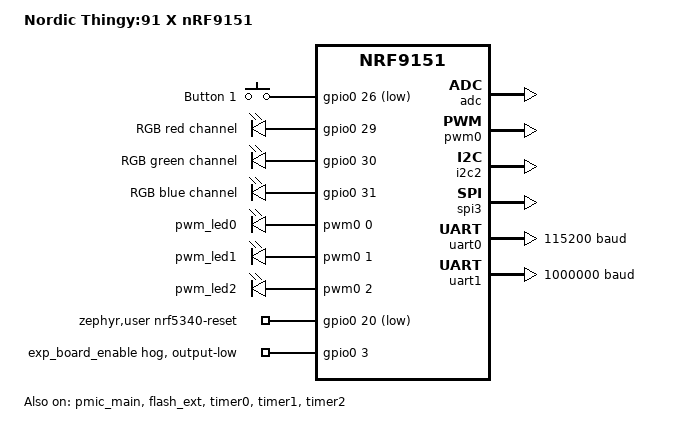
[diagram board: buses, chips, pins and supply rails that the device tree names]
/*
 * Copyright (c) 2024 Nordic Semiconductor
 * SPDX-License-Identifier: LicenseRef-Nordic-5-Clause
 */

#include "thingy91x_nrf9151_common-pinctrl.dtsi"
#include "thingy91x_common.dtsi"

/ {
	model = "Nordic Thingy:91 X nRF9151";
	compatible = "nordic,thingy91x-nrf9151";

	chosen {
		zephyr,console = &uart0;
		zephyr,shell-uart = &uart0;
		zephyr,uart-mcumgr = &uart0;
		nordic,pm-ext-flash = &flash_ext;
	};

	buttons {
		compatible = "gpio-keys";

		button0: button_0 {
			gpios = <&gpio0 26 (GPIO_PULL_UP | GPIO_ACTIVE_LOW)>;
			label = "Button 1";
		};
	};

	leds {
		compatible = "gpio-leds";
		red_led: led_1 {
			gpios = <&gpio0 29 0>;
			label = "RGB red channel";
		};
		green_led: led_2 {
			gpios = <&gpio0 30 0>;
			label = "RGB green channel";
		};
		blue_led: led_3 {
			gpios = <&gpio0 31 0>;
			label = "RGB blue channel";
		};
	};

	pwmleds {
		compatible = "pwm-leds";
		pwm_led0: pwm_led_0 {
			pwms = <&pwm0 0 PWM_MSEC(8) PWM_POLARITY_NORMAL>;
		};
		pwm_led1: pwm_led_1 {
			pwms = <&pwm0 1 PWM_MSEC(8) PWM_POLARITY_NORMAL>;
		};
		pwm_led2: pwm_led_2 {
			pwms = <&pwm0 2 PWM_MSEC(8) PWM_POLARITY_NORMAL>;
		};
	};
	zephyr,user {
		nrf5340-reset-gpios = <&gpio0 20 GPIO_ACTIVE_LOW>;
	};

	aliases {
		sw0 = &button0;
		led0 = &red_led;
		led1 = &green_led;
		led2 = &blue_led;
		pwm-led0 = &pwm_led0;
		pwm-led1 = &pwm_led1;
		pwm-led2 = &pwm_led2;
		rgb-pwm = &pwm0;
		mcuboot-button0 = &button0;
		spi-flash0 = &flash_ext;
	};
};

&adc {
	status = "okay";
};

&gpiote {
	status = "okay";
};

&gpio0 {
	status = "okay";
	/* Use PORT event rather than GPIOTE IN event, to save power */
	sense-edge-mask = <0xffffffff>;
	/* Load switch controlling 3.3V supply and I/O voltage for external boards */
	exp_board_enable: exp_board_enable {
		gpio-hog;
		output-low;
		gpios = <3 GPIO_ACTIVE_HIGH>;
	};
};

/* PWM0 is intended for RGB LED control */
&pwm0 {
	status = "okay";
	pinctrl-0 = <&pwm0_default>;
	pinctrl-1 = <&pwm0_sleep>;
	pinctrl-names = "default", "sleep";
};

&pmic_main {
	host-int-gpios = <&gpio0 2 GPIO_ACTIVE_HIGH>; //INT1
};
&accelerometer_hp {
	irq-gpios = <&gpio0 6 GPIO_ACTIVE_LOW>; //INT2
};
&magnetometer {
	drdy-gpios = <&gpio0 7 GPIO_ACTIVE_LOW>; //INT3
};
&accelerometer_lp {
	int1-gpios = <&gpio0 11 GPIO_ACTIVE_HIGH>; //INT4
};

&flash_ext {
	status = "okay";
};

&nrf70 {
	iovdd-ctrl-gpios = <&gpio0 27 (GPIO_ACTIVE_HIGH | GPIO_PULL_DOWN)>;
	bucken-gpios = <&gpio0 28 (GPIO_ACTIVE_HIGH | GPIO_PULL_DOWN)>;
	host-irq-gpios = <&gpio0 16 GPIO_ACTIVE_HIGH>;
};

&i2c2 {
	status = "okay";
};
&spi3 {
	status = "okay";
	cs-gpios = <&gpio0 12 GPIO_ACTIVE_LOW>, // FLASH_CS
		   <&gpio0 17 GPIO_ACTIVE_LOW>, // WIFI_CS
		   <&gpio0 10 GPIO_ACTIVE_LOW>; // BMI270_CS
};

&pmic_main {
	status = "okay";
	npm1300_gpios {
		status = "okay";
	};
	regulators {
		status = "okay";
	};
	charger {
		status = "okay";
	};
};

&timer0 {
	status = "okay";
};

&timer1 {
	status = "okay";
};

&timer2 {
	status = "okay";
};

&uart0 {
	compatible = "nordic,nrf-uarte";
	current-speed = <115200>;
	status = "okay";
	pinctrl-0 = <&uart0_default>;
	pinctrl-1 = <&uart0_sleep>;
	pinctrl-names = "default", "sleep";
};

&uart1 {
	current-speed = <1000000>;
	status = "okay";
	pinctrl-0 = <&uart1_default>;
	pinctrl-1 = <&uart1_sleep>;
	pinctrl-names = "default", "sleep";
};

/* This is not the layout that's actually used! It's overridden by Partition Manager. */
&flash0 {
	/*
	 * For more information, see:
	 * http://docs.zephyrproject.org/devices/dts/flash_partitions.html
	 */
	partitions {
		compatible = "fixed-partitions";
		#address-cells = <1>;
		#size-cells = <1>;

		boot_partition: partition@0 {
			label = "mcuboot";
			reg = <0x00000000 0x10000>;
		};
		slot0_partition: partition@10000 {
			label = "image-0";
			reg = <0x00010000 0x30000>;
		};
		slot0_ns_partition: partition@40000 {
			label = "image-0-nonsecure";
			reg = <0x00040000 0x40000>;
		};
		slot1_partition: partition@80000 {
			label = "image-1";
			reg = <0x00080000 0x30000>;
		};
		slot1_ns_partition: partition@b0000 {
			label = "image-1-nonsecure";
			reg = <0x000b0000 0x40000>;
		};
		scratch_partition: partition@f0000 {
			label = "image-scratch";
			reg = <0x000f0000 0xa000>;
		};
		storage_partition: partition@fa000 {
			label = "storage";
			reg = <0x000fa000 0x00006000>;
		};
	};
};

/ {

	reserved-memory {
		#address-cells = <1>;
		#size-cells = <1>;
		ranges;

		sram0_s: image_s@20000000 {
			/* Secure image memory */
			reg = <0x20000000 DT_SIZE_K(64)>;
		};

		sram0_bsd: image_bsd@20010000 {
			/* BSD (shared) memory */
			reg = <0x20010000 DT_SIZE_K(64)>;
		};

		sram0_ns: image_ns@20020000 {
			/* Non-Secure image memory */
			reg = <0x20020000 DT_SIZE_K(128)>;
		};
	};
};
